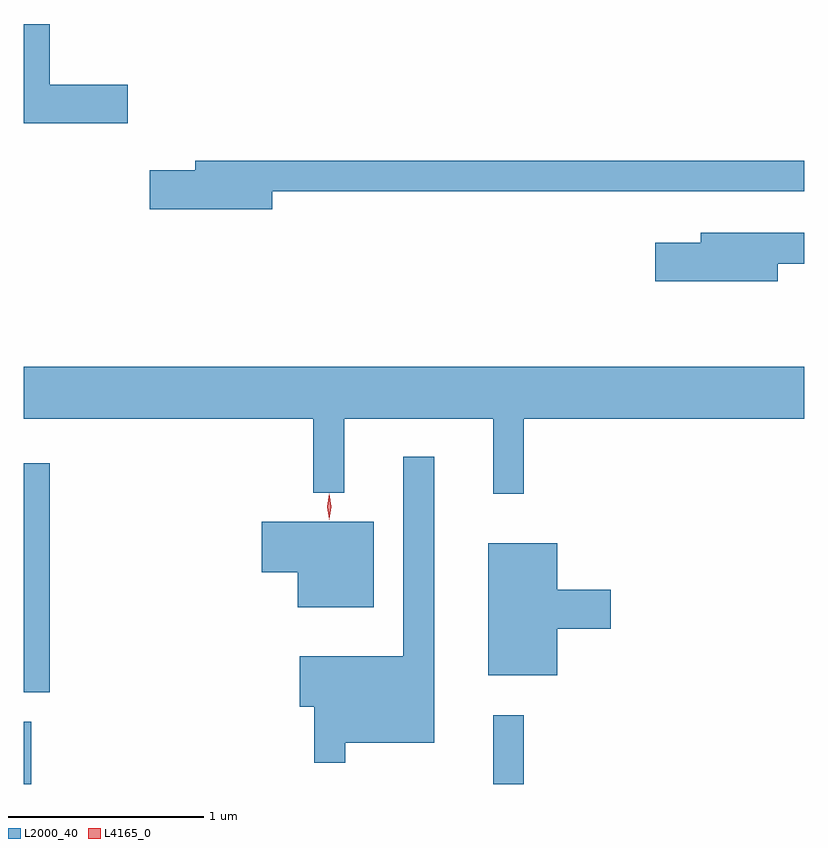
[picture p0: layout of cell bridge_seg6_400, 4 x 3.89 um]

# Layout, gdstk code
import gdstk
lib = gdstk.Library(unit=1e-6, precision=1e-09)
def R(c, l, rs):  # rectangles x0, y0, x1, y1
    for r in rs: c.add(gdstk.rectangle(r[:2], r[2:], *l))
def P(c, l, *ps):  # polygons
    for p in ps: c.add(gdstk.Polygon(p, *l))
L2000_40 = (2000, 40)
L4165_0 = (4165, 0)

bridge_seg6_400 = lib.new_cell('bridge_seg6_400')
R(bridge_seg6_400, L2000_40, [(877.291,1661.385,877.329,1661.704), (879.696,1661.385,879.854,1661.738), (877.291,1661.856,877.424,1663.029)])
P(bridge_seg6_400, L2000_40, [(877.824,1664.969),(877.424,1664.969),(877.424,1665.279),(877.291,1665.279),(877.291,1664.771),(877.824,1664.771)],
  [(878.564,1664.421),(881.291,1664.421),(881.291,1664.579),(878.171,1664.579),(878.171,1664.529),(877.936,1664.529),(877.936,1664.331),(878.564,1664.331)],
  [(881.154,1664.051),(881.291,1664.051),(881.291,1664.209),(880.761,1664.209),(880.761,1664.159),(880.526,1664.159),(880.526,1663.961),(881.154,1663.961)],
  [(879.854,1663.256),(881.291,1663.256),(881.291,1663.524),(877.291,1663.524),(877.291,1663.256),(878.776,1663.256),(878.776,1662.878),(878.934,1662.878),(878.934,1663.256),(879.696,1663.256),(879.696,1662.873),(879.854,1662.873)],
  [(878.939,1661.596),(879.394,1661.596),(879.394,1663.063),(879.236,1663.063),(879.236,1662.039),(878.706,1662.039),(878.706,1661.781),(878.781,1661.781),(878.781,1661.493),(878.939,1661.493)],
  [(879.084,1662.729),(878.511,1662.729),(878.511,1662.471),(878.696,1662.471),(878.696,1662.291),(879.084,1662.291)],
  [(880.024,1662.181),(880.299,1662.181),(880.299,1662.379),(880.024,1662.379),(880.024,1662.619),(879.671,1662.619),(879.671,1661.941),(880.024,1661.941)])
P(bridge_seg6_400, L4165_0, [(878.858,1662.74),(878.857,1662.741),(878.847,1662.806),(878.856,1662.871),(878.857,1662.871),(878.858,1662.871),(878.867,1662.806),(878.858,1662.741)])

lib.write_gds('bridge_seg6_400.gds')
